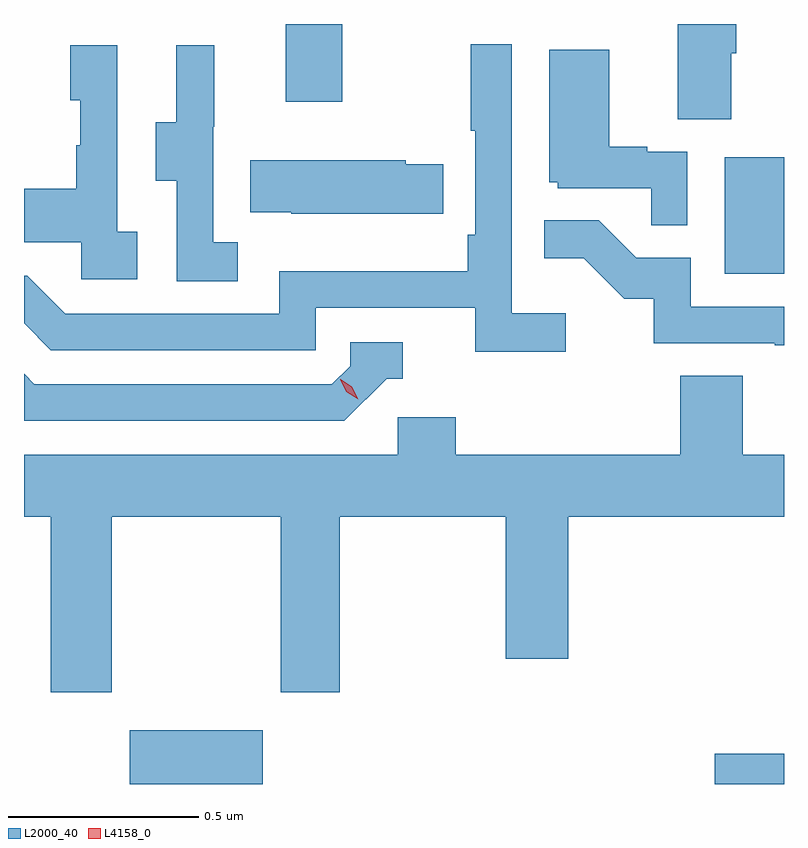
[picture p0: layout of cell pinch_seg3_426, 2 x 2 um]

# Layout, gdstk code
import gdstk
lib = gdstk.Library(unit=1e-6, precision=1e-09)
def R(c, l, rs):  # rectangles x0, y0, x1, y1
    for r in rs: c.add(gdstk.rectangle(r[:2], r[2:], *l))
def P(c, l, *ps):  # polygons
    for p in ps: c.add(gdstk.Polygon(p, *l))
L2000_40 = (2000, 40)
L4158_0 = (4158, 0)

pinch_seg3_426 = lib.new_cell('pinch_seg3_426')
R(pinch_seg3_426, L2000_40, [(895.286,697.549,895.636,697.69), (896.826,697.549,897.008,697.628), (896.852,698.892,897.008,699.199), (895.697,699.345,895.845,699.549)])
P(pinch_seg3_426, L2000_40, [(896.869,699.472),(896.882,699.472),(896.882,699.549),(896.729,699.549),(896.729,699.298),(896.869,699.298)],
  [(896.434,698.788),(896.292,698.788),(896.292,699.496),(896.184,699.496),(896.184,699.268),(896.196,699.268),(896.196,698.995),(896.176,698.995),(896.176,698.899),(895.68,698.899),(895.68,698.787),(895.116,698.787),(895.017,698.886),(895.008,698.886),(895.008,698.762),(895.079,698.691),(895.776,698.691),(895.776,698.802),(896.195,698.802),(896.195,698.686),(896.434,698.686)],
  [(895.306,699.002),(895.254,699.002),(895.254,699.493),(895.13,699.493),(895.13,699.348),(895.156,699.348),(895.156,699.23),(895.146,699.23),(895.146,699.115),(895.008,699.115),(895.008,698.975),(895.158,698.975),(895.158,698.877),(895.306,698.877)],
  [(895.57,698.975),(895.506,698.975),(895.506,699.279),(895.508,699.279),(895.508,699.493),(895.409,699.493),(895.409,699.291),(895.355,699.291),(895.355,699.136),(895.41,699.136),(895.41,698.872),(895.57,698.872)],
  [(896.754,699.213),(896.648,699.213),(896.648,699.226),(896.548,699.226),(896.548,699.481),(896.39,699.481),(896.39,699.132),(896.412,699.132),(896.412,699.117),(896.659,699.117),(896.659,699.019),(896.754,699.019)],
  [(896.111,699.18),(896.013,699.18),(896.013,699.19),(895.603,699.19),(895.603,699.053),(895.711,699.053),(895.711,699.05),(896.111,699.05)],
  [(897.008,698.805),(896.763,698.805),(896.763,698.934),(896.619,698.934),(896.521,699.032),(896.377,699.032),(896.377,698.933),(896.481,698.933),(896.588,698.826),(896.665,698.826),(896.665,698.709),(896.983,698.709),(896.983,698.704),(897.008,698.704)],
  [(895.962,698.616),(896.005,698.616),(896.005,698.712),(895.866,698.712),(895.866,698.649),(895.818,698.601),(895.035,698.601),(895.008,698.628),(895.008,698.505),(895.851,698.505)],
  [(895.239,698.252),(895.684,698.252),(895.684,697.791),(895.839,697.791),(895.839,698.252),(896.276,698.252),(896.276,697.878),(896.44,697.878),(896.44,698.252),(897.008,698.252),(897.008,698.416),(896.9,698.416),(896.9,698.624),(896.735,698.624),(896.735,698.416),(896.144,698.416),(896.144,698.514),(895.992,698.514),(895.992,698.416),(895.008,698.416),(895.008,698.252),(895.079,698.252),(895.079,697.791),(895.239,697.791)])
P(pinch_seg3_426, L4158_0, [(895.887,698.561),(895.856,698.581),(895.84,698.614),(895.84,698.614),(895.841,698.614),(895.871,698.594),(895.887,698.562),(895.887,698.561)])

lib.write_gds('pinch_seg3_426.gds')
